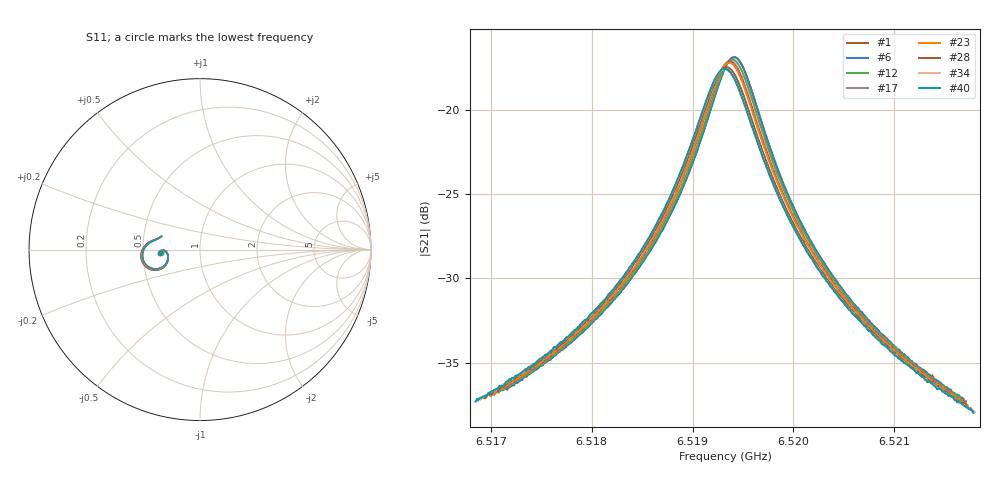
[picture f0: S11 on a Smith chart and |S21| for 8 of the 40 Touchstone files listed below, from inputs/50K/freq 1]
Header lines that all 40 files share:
#  HZ  S  RI  R  50.00
! Rohde & Schwarz Vector Network Analyzer
! Rohde-Schwarz,ZNB20-2Port,1311601062101988,3.16
! freq[Hz]  re:S11  im:S11  re:S21  im:S21  re:S12  im:S12  re:S22  im:S22
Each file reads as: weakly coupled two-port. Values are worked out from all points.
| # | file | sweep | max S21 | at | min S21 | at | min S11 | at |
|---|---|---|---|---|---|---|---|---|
| 1 | 3_1_48.1015_50.1333466_224.425_.s2p | 6.517138 GHz to 6.521685 GHz | -16.89 dB | 6.519423 GHz | -37.1 dB | 6.521685 GHz | -14.5 dB | 6.519002 GHz |
| 2 | 5_1_48.1009_50.1359291_1681.243_.s2p | 6.517143 GHz to 6.521697 GHz | -16.87 dB | 6.51942 GHz | -37.3 dB | 6.521697 GHz | -14.5 dB | 6.51901 GHz |
| 3 | 6_1_48.1019_50.1342545_2246.389_.s2p | 6.517149 GHz to 6.521697 GHz | -16.86 dB | 6.519423 GHz | -37.2 dB | 6.521697 GHz | -14.5 dB | 6.519002 GHz |
| 4 | 7_1_48.1004_50.1342545_2814.457_.s2p | 6.517151 GHz to 6.521695 GHz | -16.86 dB | 6.519423 GHz | -37.1 dB | 6.521695 GHz | -14.5 dB | 6.519003 GHz |
| 5 | 16_1_48.0982_50.133255_8252.787_.s2p | 6.517138 GHz to 6.52169 GHz | -16.89 dB | 6.519414 GHz | -37.2 dB | 6.52169 GHz | -14.5 dB | 6.518993 GHz |
| 6 | 17_1_48.0993_50.1315842_8863.367_.s2p | 6.517138 GHz to 6.521689 GHz | -16.89 dB | 6.519413 GHz | -37.2 dB | 6.521689 GHz | -14.5 dB | 6.519004 GHz |
| 7 | 18_1_48.1003_50.1318893_9424.189_.s2p | 6.517135 GHz to 6.521689 GHz | -16.89 dB | 6.519401 GHz | -37.1 dB | 6.521689 GHz | -14.5 dB | 6.519002 GHz |
| 8 | 25_1_48.1019_50.1302795_13708.422_.s2p | 6.517099 GHz to 6.521713 GHz | -17.01 dB | 6.519406 GHz | -37.4 dB | 6.521713 GHz | -14.4 dB | 6.518979 GHz |
| 9 | 27_1_48.0987_50.1288338_14909.352_.s2p | 6.517091 GHz to 6.521716 GHz | -17.02 dB | 6.519404 GHz | -37.4 dB | 6.521716 GHz | -14.4 dB | 6.518987 GHz |
| 10 | 29_1_48.1025_50.1270142_16010.769_.s2p | 6.517085 GHz to 6.52172 GHz | -17.02 dB | 6.519402 GHz | -37.4 dB | 6.52172 GHz | -14.4 dB | 6.518997 GHz |
| 11 | 35_1_48.0975_50.1226578_20094.68_.s2p | 6.517081 GHz to 6.521711 GHz | -17.01 dB | 6.519396 GHz | -37.3 dB | 6.5217 GHz | -14.4 dB | 6.518968 GHz |
| 12 | 38_1_48.0989_50.1217346_21796.232_.s2p | 6.517075 GHz to 6.521713 GHz | -17.03 dB | 6.519394 GHz | -37.3 dB | 6.521713 GHz | -14.4 dB | 6.518965 GHz |
| 13 | 53_1_48.0987_50.1072807_31145.416_.s2p | 6.517044 GHz to 6.521723 GHz | -17.12 dB | 6.519383 GHz | -37.5 dB | 6.521723 GHz | -14.4 dB | 6.518962 GHz |
| 14 | 58_1_48.0976_50.1018143_34002.793_.s2p | 6.51704 GHz to 6.521717 GHz | -17.12 dB | 6.519378 GHz | -37.4 dB | 6.521717 GHz | -14.4 dB | 6.518957 GHz |
| 15 | 64_1_48.1049_50.09552_37764.711_.s2p | 6.517035 GHz to 6.521712 GHz | -17.10 dB | 6.519374 GHz | -37.4 dB | 6.521712 GHz | -14.4 dB | 6.518964 GHz |
| 16 | 67_1_48.0996_50.0929413_39440.035_.s2p | 6.517036 GHz to 6.521707 GHz | -17.11 dB | 6.519372 GHz | -37.4 dB | 6.521707 GHz | -14.4 dB | 6.518951 GHz |
| 17 | 68_1_48.0921_50.0933952_40032.004_.s2p | 6.517033 GHz to 6.521708 GHz | -17.11 dB | 6.519371 GHz | -37.4 dB | 6.521696 GHz | -14.4 dB | 6.518962 GHz |
| 18 | 71_1_48.0982_50.0892296_41737.164_.s2p | 6.517024 GHz to 6.521714 GHz | -17.12 dB | 6.519369 GHz | -37.4 dB | 6.521714 GHz | -14.4 dB | 6.51897 GHz |
| 19 | 72_1_48.0976_50.0888481_42309.926_.s2p | 6.517022 GHz to 6.521714 GHz | -17.13 dB | 6.519368 GHz | -37.4 dB | 6.521702 GHz | -14.4 dB | 6.518946 GHz |
| 20 | 75_1_48.101_50.0857391_44346.129_.s2p | 6.517011 GHz to 6.521719 GHz | -17.17 dB | 6.519365 GHz | -37.5 dB | 6.521719 GHz | -14.4 dB | 6.518941 GHz |
| 21 | 77_1_48.0994_50.0836868_45539.641_.s2p | 6.517013 GHz to 6.521716 GHz | -17.18 dB | 6.519364 GHz | -37.5 dB | 6.521716 GHz | -14.4 dB | 6.518929 GHz |
| 22 | 78_1_48.1005_50.0830803_46111.305_.s2p | 6.516998 GHz to 6.521729 GHz | -17.19 dB | 6.519363 GHz | -37.5 dB | 6.521729 GHz | -14.4 dB | 6.518914 GHz |
| 23 | 79_1_48.0977_50.0823135_46643.879_.s2p | 6.516997 GHz to 6.521728 GHz | -17.21 dB | 6.519363 GHz | -37.5 dB | 6.521728 GHz | -14.4 dB | 6.51896 GHz |
| 24 | 81_1_48.1019_50.0809479_47797.254_.s2p | 6.516996 GHz to 6.521727 GHz | -17.23 dB | 6.519361 GHz | -37.5 dB | 6.521727 GHz | -14.4 dB | 6.518936 GHz |
| 25 | 85_1_48.0988_50.0775375_50355.359_.s2p | 6.516983 GHz to 6.521733 GHz | -17.25 dB | 6.519358 GHz | -37.5 dB | 6.521721 GHz | -14.4 dB | 6.518931 GHz |
| 26 | 100_1_48.1_50.0641823_59223.582_.s2p | 6.516935 GHz to 6.521765 GHz | -17.35 dB | 6.51935 GHz | -37.7 dB | 6.521765 GHz | -14.4 dB | 6.518927 GHz |
| 27 | 107_1_48.0946_50.0581932_63507.992_.s2p | 6.516926 GHz to 6.521763 GHz | -17.41 dB | 6.519344 GHz | -37.7 dB | 6.521763 GHz | -14.4 dB | 6.518909 GHz |
| 28 | 116_1_48.0993_50.0509529_69009.641_.s2p | 6.516897 GHz to 6.521778 GHz | -17.48 dB | 6.519338 GHz | -37.8 dB | 6.521778 GHz | -14.4 dB | 6.518898 GHz |
| 29 | 121_1_48.0967_50.0448151_71910.945_.s2p | 6.516883 GHz to 6.521785 GHz | -17.51 dB | 6.519334 GHz | -37.8 dB | 6.521772 GHz | -14.3 dB | 6.518905 GHz |
| 30 | 125_1_48.0996_50.0416374_74460.555_.s2p | 6.516873 GHz to 6.521789 GHz | -17.55 dB | 6.519331 GHz | -37.9 dB | 6.521776 GHz | -14.3 dB | 6.518913 GHz |
| 31 | 127_1_48.0992_50.0401955_75640.156_.s2p | 6.516866 GHz to 6.521791 GHz | -17.55 dB | 6.519329 GHz | -37.8 dB | 6.521791 GHz | -14.3 dB | 6.518898 GHz |
| 32 | 131_1_48.0962_50.0350952_77937.813_.s2p | 6.516864 GHz to 6.521787 GHz | -17.57 dB | 6.519338 GHz | -37.8 dB | 6.521775 GHz | -14.3 dB | 6.518882 GHz |
| 33 | 134_1_48.1023_50.0324478_79963.188_.s2p | 6.516845 GHz to 6.521801 GHz | -17.59 dB | 6.519323 GHz | -37.9 dB | 6.521801 GHz | -14.3 dB | 6.518889 GHz |
| 34 | 135_1_48.1006_50.0314674_80527.539_.s2p | 6.516842 GHz to 6.521801 GHz | -17.60 dB | 6.519322 GHz | -37.9 dB | 6.521801 GHz | -14.3 dB | 6.5189 GHz |
| 35 | 140_1_48.1009_50.0281258_83420.445_.s2p | 6.51683 GHz to 6.521804 GHz | -17.62 dB | 6.519317 GHz | -37.9 dB | 6.521804 GHz | -14.3 dB | 6.518882 GHz |
| 36 | 144_1_48.0998_50.0239563_86020.867_.s2p | 6.516819 GHz to 6.521809 GHz | -17.65 dB | 6.519314 GHz | -38.0 dB | 6.521797 GHz | -14.3 dB | 6.518865 GHz |
| 37 | 158_1_48.0999_50.0226402_86478.461_.s2p | 6.516833 GHz to 6.521792 GHz | -17.61 dB | 6.519312 GHz | -37.9 dB | 6.521792 GHz | -14.3 dB | 6.518878 GHz |
| 38 | 159_1_48.0999_50.0227928_85919.172_.s2p | 6.516824 GHz to 6.521801 GHz | -17.61 dB | 6.519312 GHz | -37.9 dB | 6.521801 GHz | -14.3 dB | 6.518877 GHz |
| 39 | 166_1_48.1018_50.0310974_81604.953_.s2p | 6.516851 GHz to 6.521784 GHz | -17.57 dB | 6.519305 GHz | -37.8 dB | 6.521784 GHz | -14.3 dB | 6.518885 GHz |
| 40 | 167_1_48.0997_50.0311737_81015.406_.s2p | 6.51685 GHz to 6.521785 GHz | -17.56 dB | 6.51933 GHz | -38.0 dB | 6.521785 GHz | -14.3 dB | 6.518874 GHz |
